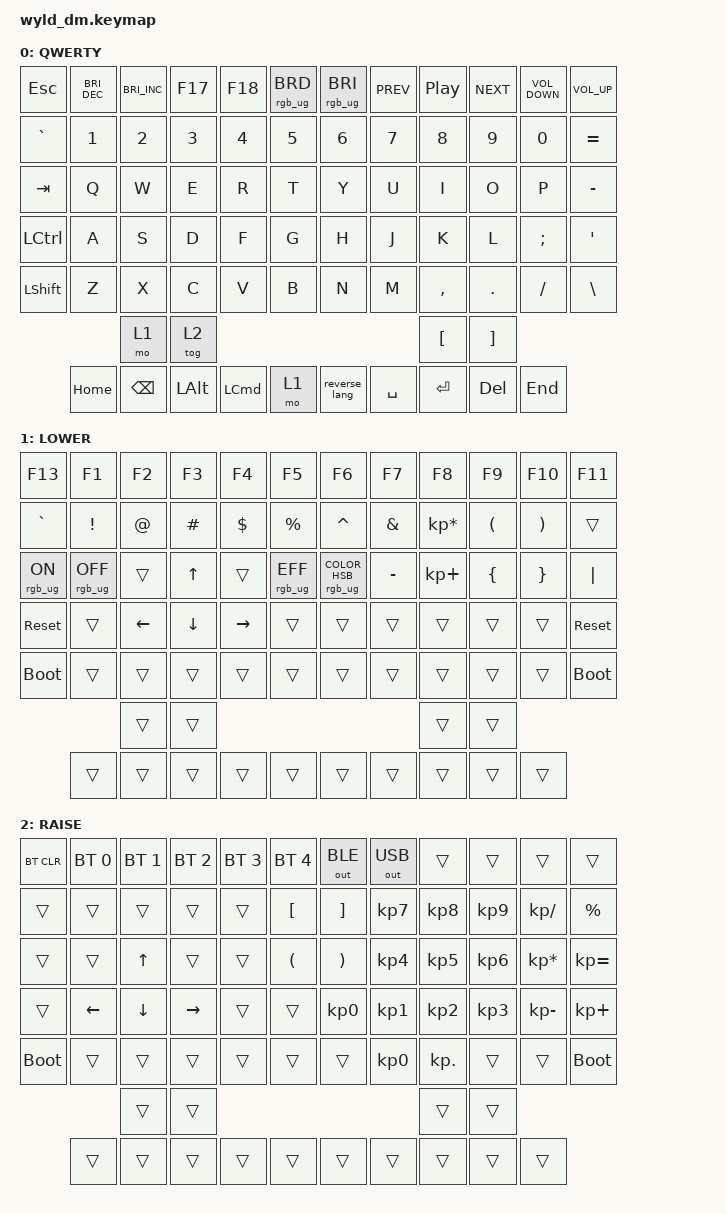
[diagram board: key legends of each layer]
/*
 * Copyright (c) 2020 The ZMK Contributors
 *
 * SPDX-License-Identifier: MIT
 */

#include <behaviors.dtsi>
#include <dt-bindings/zmk/bt.h>
#include <dt-bindings/zmk/ext_power.h>
#include <dt-bindings/zmk/keys.h>
#include <dt-bindings/zmk/outputs.h>
#include <dt-bindings/zmk/rgb.h>

#define QWERTY 0
#define LOWER 1
#define RAISE 2

/ {
    macros {
        reverse_lang: reverse_lang {
            compatible = "zmk,behavior-macro";
            #binding-cells = <0>;
            bindings = <&kp LEFT_ALT &kp LEFT_ALT>;
            label = "REVERSE_LANG";
            wait-ms = <500>;
        };
    };

    keymap {
        compatible = "zmk,keymap";

        default_layer {
            display-name = "QWERTY";
            bindings = <
&kp ESC         &kp C_BRIGHTNESS_DEC  &kp C_BRIGHTNESS_INC  &kp F17       &kp F18   &rgb_ug RGB_BRD  &rgb_ug RGB_BRI  &kp C_PREV  &kp C_PLAY_PAUSE  &kp C_NEXT         &kp K_VOLUME_DOWN  &kp K_VOLUME_UP
&kp GRAVE       &kp N1                &kp N2                &kp N3        &kp N4    &kp N5           &kp N6           &kp N7      &kp N8            &kp N9             &kp N0             &kp EQUAL
&kp TAB         &kp Q                 &kp W                 &kp E         &kp R     &kp T            &kp Y            &kp U       &kp I             &kp O              &kp P              &kp MINUS
&kp LCTRL       &kp A                 &kp S                 &kp D         &kp F     &kp G            &kp H            &kp J       &kp K             &kp L              &kp SEMI           &kp SQT
&kp LEFT_SHIFT  &kp Z                 &kp X                 &kp C         &kp V     &kp B            &kp N            &kp M       &kp COMMA         &kp DOT            &kp FSLH           &kp BSLH
                                      &mo 1                 &tog 2                                                                &kp LEFT_BRACKET  &kp RIGHT_BRACKET
                &kp HOME              &kp BACKSPACE         &kp LEFT_ALT  &kp LCMD  &mo 1            &reverse_lang    &kp SPACE   &kp ENTER         &kp DELETE         &kp END
            >;
        };

        lower_layer {
            display-name = "LOWER";
            bindings = <
&kp F13           &kp F1             &kp F2             &kp F3    &kp F4      &kp F5           &kp F6                          &kp F7     &kp F8           &kp F9    &kp F10   &kp F11
&kp GRAVE         &kp EXCL           &kp AT             &kp HASH  &kp DOLLAR  &kp PRCNT        &kp CARET                       &kp AMPS   &kp KP_MULTIPLY  &kp LPAR  &kp RPAR  &trans
&rgb_ug RGB_ON    &rgb_ug RGB_OFF    &trans             &kp UP    &trans      &rgb_ug RGB_EFF  &rgb_ug RGB_COLOR_HSB(0,0,100)  &kp MINUS  &kp KP_PLUS      &kp LBRC  &kp RBRC  &kp PIPE
&sys_reset        &trans             &kp LEFT           &kp DOWN  &kp RIGHT   &trans           &trans                          &trans     &trans           &trans    &trans    &sys_reset
&bootloader       &trans             &trans             &trans    &trans      &trans           &trans                          &trans     &trans           &trans    &trans    &bootloader
                                     &trans             &trans                                                                            &trans           &trans
                  &trans             &trans             &trans    &trans      &trans           &trans                          &trans     &trans           &trans    &trans
            >;
        };

        raise_layer {
            display-name = "RAISE";
            bindings = <
&bt BT_CLR   &bt BT_SEL 0  &bt BT_SEL 1  &bt BT_SEL 2  &bt BT_SEL 3  &bt BT_SEL 4  &out OUT_BLE  &out OUT_USB  &trans      &trans     &trans           &trans
&trans       &trans        &trans        &trans        &trans        &kp LBKT      &kp RBKT      &kp KP_N7     &kp KP_N8   &kp KP_N9  &kp KP_DIVIDE    &kp PERCENT
&trans       &trans        &kp UP        &trans        &trans        &kp LPAR      &kp RPAR      &kp KP_N4     &kp KP_N5   &kp KP_N6  &kp KP_MULTIPLY  &kp KP_EQUAL
&trans       &kp LEFT      &kp DOWN      &kp RIGHT     &trans        &trans        &kp KP_N0     &kp KP_N1     &kp KP_N2   &kp KP_N3  &kp KP_MINUS     &kp KP_PLUS
&bootloader  &trans        &trans        &trans        &trans        &trans        &trans        &kp KP_N0     &kp KP_DOT  &trans     &trans           &bootloader
                           &trans        &trans                                                                &trans      &trans
             &trans        &trans        &trans        &trans        &trans        &trans        &trans        &trans      &trans     &trans
            >;
        };
    };
};
